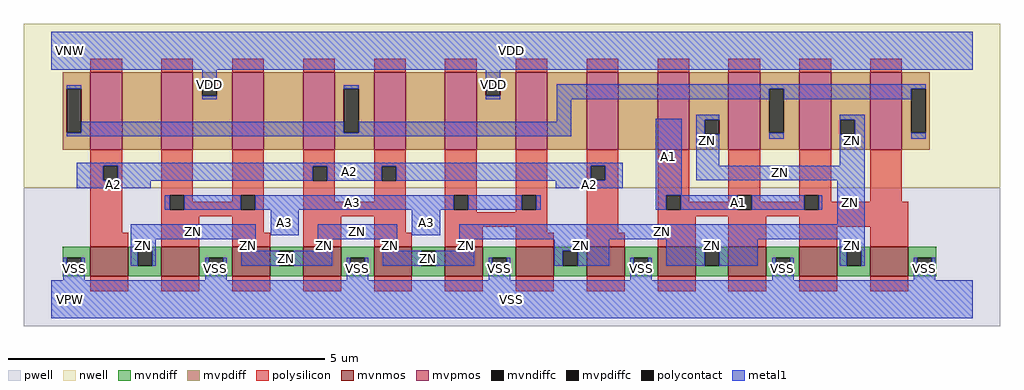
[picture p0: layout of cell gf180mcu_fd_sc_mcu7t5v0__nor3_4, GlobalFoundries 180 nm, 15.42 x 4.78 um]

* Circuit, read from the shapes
.subckt gf180mcu_fd_sc_mcu7t5v0__nor3_4 A1 A2 A3 ZN VDD VNW VPW VSS
XM1 ZN A2 VSS VPW nfet_06v0 w=0.465u l=0.6u m=4
XM2 VSS A3 ZN VPW nfet_06v0 w=0.465u l=0.6u m=4
XM3 ZN A1 VSS VPW nfet_06v0 w=0.465u l=0.6u m=4
XM4 n1 A2 n2 VNW pfet_06v0 w=1.22u l=0.5u
XM5 VDD A3 n1 VNW pfet_06v0 w=1.22u l=0.5u
XM6 n3 A3 VDD VNW pfet_06v0 w=1.22u l=0.5u
XM7 n2 A2 n3 VNW pfet_06v0 w=1.22u l=0.5u
XM8 n4 A2 n2 VNW pfet_06v0 w=1.22u l=0.5u
XM9 VDD A3 n4 VNW pfet_06v0 w=1.22u l=0.5u
XM10 n5 A3 VDD VNW pfet_06v0 w=1.22u l=0.5u
XM11 n6 A2 n5 VNW pfet_06v0 w=1.22u l=0.5u
XM12 ZN A1 n6 VNW pfet_06v0 w=1.22u l=0.5u
XM13 n2 A1 ZN VNW pfet_06v0 w=1.22u l=0.5u m=3
.ends

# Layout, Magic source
magic
tech gf180mcuD
magscale 1 10
<< nwell >>
rect -86 352 2998 870
<< pwell >>
rect -86 -86 2998 352
<< mvnmos >>
rect 124 72 244 165
rect 348 72 468 165
rect 572 72 692 165
rect 796 72 916 165
rect 1020 72 1140 165
rect 1244 72 1364 165
rect 1468 72 1588 165
rect 1692 72 1812 165
rect 1916 72 2036 165
rect 2140 72 2260 165
rect 2364 72 2484 165
rect 2588 72 2708 165
<< mvpmos >>
rect 124 472 224 716
rect 348 472 448 716
rect 572 472 672 716
rect 796 472 896 716
rect 1020 472 1120 716
rect 1244 472 1344 716
rect 1468 472 1568 716
rect 1692 472 1792 716
rect 1916 472 2016 716
rect 2140 472 2240 716
rect 2364 472 2464 716
rect 2588 472 2688 716
<< mvndiff >>
rect 36 131 124 165
rect 36 85 49 131
rect 95 85 124 131
rect 36 72 124 85
rect 244 152 348 165
rect 244 106 273 152
rect 319 106 348 152
rect 244 72 348 106
rect 468 131 572 165
rect 468 85 497 131
rect 543 85 572 131
rect 468 72 572 85
rect 692 152 796 165
rect 692 106 721 152
rect 767 106 796 152
rect 692 72 796 106
rect 916 131 1020 165
rect 916 85 945 131
rect 991 85 1020 131
rect 916 72 1020 85
rect 1140 152 1244 165
rect 1140 106 1169 152
rect 1215 106 1244 152
rect 1140 72 1244 106
rect 1364 131 1468 165
rect 1364 85 1393 131
rect 1439 85 1468 131
rect 1364 72 1468 85
rect 1588 152 1692 165
rect 1588 106 1617 152
rect 1663 106 1692 152
rect 1588 72 1692 106
rect 1812 131 1916 165
rect 1812 85 1841 131
rect 1887 85 1916 131
rect 1812 72 1916 85
rect 2036 152 2140 165
rect 2036 106 2065 152
rect 2111 106 2140 152
rect 2036 72 2140 106
rect 2260 131 2364 165
rect 2260 85 2289 131
rect 2335 85 2364 131
rect 2260 72 2364 85
rect 2484 152 2588 165
rect 2484 106 2513 152
rect 2559 106 2588 152
rect 2484 72 2588 106
rect 2708 131 2796 165
rect 2708 85 2737 131
rect 2783 85 2796 131
rect 2708 72 2796 85
<< mvpdiff >>
rect 36 665 124 716
rect 36 525 49 665
rect 95 525 124 665
rect 36 472 124 525
rect 224 472 348 716
rect 448 688 572 716
rect 448 642 477 688
rect 523 642 572 688
rect 448 472 572 642
rect 672 472 796 716
rect 896 665 1020 716
rect 896 525 925 665
rect 971 525 1020 665
rect 896 472 1020 525
rect 1120 472 1244 716
rect 1344 688 1468 716
rect 1344 642 1373 688
rect 1419 642 1468 688
rect 1344 472 1468 642
rect 1568 472 1692 716
rect 1792 472 1916 716
rect 2016 567 2140 716
rect 2016 521 2065 567
rect 2111 521 2140 567
rect 2016 472 2140 521
rect 2240 665 2364 716
rect 2240 525 2269 665
rect 2315 525 2364 665
rect 2240 472 2364 525
rect 2464 567 2588 716
rect 2464 521 2493 567
rect 2539 521 2588 567
rect 2464 472 2588 521
rect 2688 665 2776 716
rect 2688 525 2717 665
rect 2763 525 2776 665
rect 2688 472 2776 525
<< mvndiffc >>
rect 49 85 95 131
rect 273 106 319 152
rect 497 85 543 131
rect 721 106 767 152
rect 945 85 991 131
rect 1169 106 1215 152
rect 1393 85 1439 131
rect 1617 106 1663 152
rect 1841 85 1887 131
rect 2065 106 2111 152
rect 2289 85 2335 131
rect 2513 106 2559 152
rect 2737 85 2783 131
<< mvpdiffc >>
rect 49 525 95 665
rect 477 642 523 688
rect 925 525 971 665
rect 1373 642 1419 688
rect 2065 521 2111 567
rect 2269 525 2315 665
rect 2493 521 2539 567
rect 2717 525 2763 665
<< polysilicon >>
rect 124 716 224 760
rect 348 716 448 760
rect 572 716 672 760
rect 796 716 896 760
rect 1020 716 1120 760
rect 1244 716 1344 760
rect 1468 716 1568 760
rect 1692 716 1792 760
rect 1916 716 2016 760
rect 2140 716 2240 760
rect 2364 716 2464 760
rect 2588 716 2688 760
rect 124 421 224 472
rect 124 375 165 421
rect 211 375 224 421
rect 124 209 224 375
rect 348 328 448 472
rect 348 282 375 328
rect 421 307 448 328
rect 572 328 672 472
rect 572 307 599 328
rect 421 282 599 307
rect 645 282 672 328
rect 348 261 672 282
rect 124 165 244 209
rect 348 165 468 261
rect 572 209 672 261
rect 796 420 896 472
rect 796 374 827 420
rect 873 374 896 420
rect 796 307 896 374
rect 1020 420 1120 472
rect 1020 374 1045 420
rect 1091 374 1120 420
rect 1020 307 1120 374
rect 796 261 1120 307
rect 572 165 692 209
rect 796 165 916 261
rect 1020 209 1120 261
rect 1244 328 1344 472
rect 1244 282 1272 328
rect 1318 282 1344 328
rect 1244 274 1344 282
rect 1468 328 1568 472
rect 1468 282 1487 328
rect 1533 282 1568 328
rect 1468 274 1568 282
rect 1244 228 1568 274
rect 1020 165 1140 209
rect 1244 165 1364 228
rect 1468 209 1568 228
rect 1692 421 1792 472
rect 1692 375 1705 421
rect 1751 375 1792 421
rect 1692 209 1792 375
rect 1916 328 2016 472
rect 1916 282 1944 328
rect 1990 307 2016 328
rect 2140 328 2240 472
rect 2140 307 2168 328
rect 1990 282 2168 307
rect 2214 307 2240 328
rect 2364 328 2464 472
rect 2364 307 2379 328
rect 2214 282 2379 307
rect 2425 307 2464 328
rect 2588 307 2688 472
rect 2425 282 2708 307
rect 1916 261 2708 282
rect 1468 165 1588 209
rect 1692 165 1812 209
rect 1916 165 2036 261
rect 2140 165 2260 261
rect 2364 228 2708 261
rect 2364 165 2484 228
rect 2588 165 2708 228
rect 124 24 244 72
rect 348 24 468 72
rect 572 24 692 72
rect 796 24 916 72
rect 1020 24 1140 72
rect 1244 24 1364 72
rect 1468 24 1588 72
rect 1692 24 1812 72
rect 1916 24 2036 72
rect 2140 24 2260 72
rect 2364 24 2484 72
rect 2588 24 2708 72
<< polycontact >>
rect 165 375 211 421
rect 375 282 421 328
rect 599 282 645 328
rect 827 374 873 420
rect 1045 374 1091 420
rect 1272 282 1318 328
rect 1487 282 1533 328
rect 1705 375 1751 421
rect 1944 282 1990 328
rect 2168 282 2214 328
rect 2379 282 2425 328
<< metal1 >>
rect 0 724 2912 844
rect 477 688 523 724
rect 49 665 95 676
rect 1373 688 1419 724
rect 477 631 523 642
rect 925 665 971 676
rect 95 525 925 560
rect 1373 631 1419 642
rect 1598 665 2763 678
rect 1598 632 2269 665
rect 1598 560 1644 632
rect 971 525 1644 560
rect 49 514 1644 525
rect 81 421 1806 430
rect 81 375 165 421
rect 211 420 1705 421
rect 211 375 827 420
rect 81 374 827 375
rect 873 374 1045 420
rect 1091 375 1705 420
rect 1751 375 1806 421
rect 1091 374 1806 375
rect 81 350 314 374
rect 1594 350 1806 374
rect 1910 328 1992 570
rect 2038 567 2111 582
rect 2038 521 2065 567
rect 2038 422 2111 521
rect 2315 632 2717 665
rect 2269 506 2315 525
rect 2492 567 2570 582
rect 2492 521 2493 567
rect 2539 521 2570 567
rect 2492 422 2570 521
rect 2717 506 2763 525
rect 2038 375 2570 422
rect 358 282 375 328
rect 421 282 599 328
rect 645 282 1272 328
rect 1318 282 1487 328
rect 1533 282 1547 328
rect 1910 282 1944 328
rect 1990 282 2168 328
rect 2214 282 2379 328
rect 2425 282 2436 328
rect 251 189 646 236
rect 694 202 782 282
rect 251 152 330 189
rect 38 85 49 131
rect 95 85 106 131
rect 251 106 273 152
rect 319 106 330 152
rect 600 152 646 189
rect 842 189 1094 236
rect 1140 202 1230 282
rect 2484 236 2570 375
rect 842 152 888 189
rect 38 60 106 85
rect 486 85 497 131
rect 543 85 554 131
rect 600 106 721 152
rect 767 106 888 152
rect 1048 152 1094 189
rect 1290 189 2570 236
rect 1290 152 1336 189
rect 486 60 554 85
rect 934 85 945 131
rect 991 85 1002 131
rect 1048 106 1169 152
rect 1215 106 1336 152
rect 1590 152 1764 189
rect 934 60 1002 85
rect 1382 85 1393 131
rect 1439 85 1450 131
rect 1590 106 1617 152
rect 1663 106 1764 152
rect 1944 152 2232 189
rect 1382 60 1450 85
rect 1830 85 1841 131
rect 1887 85 1898 131
rect 1944 106 2065 152
rect 2111 106 2232 152
rect 2492 152 2570 189
rect 1830 60 1898 85
rect 2278 85 2289 131
rect 2335 85 2346 131
rect 2492 106 2513 152
rect 2559 106 2570 152
rect 2278 60 2346 85
rect 2726 85 2737 131
rect 2783 85 2794 131
rect 2726 60 2794 85
rect 0 -60 2912 60
<< labels >>
flabel metal1 s 358 282 1547 328 0 FreeSans 400 0 0 0 A3
port 3 nsew default input
flabel metal1 s 0 724 2912 844 0 FreeSans 400 0 0 0 VDD
port 5 nsew power bidirectional abutment
flabel metal1 s 2726 60 2794 131 0 FreeSans 400 0 0 0 VSS
port 8 nsew ground bidirectional abutment
flabel metal1 s 2492 422 2570 582 0 FreeSans 400 0 0 0 ZN
port 4 nsew default output
flabel metal1 s 1910 328 1992 570 0 FreeSans 400 0 0 0 A1
port 1 nsew default input
flabel metal1 s 81 374 1806 430 0 FreeSans 400 0 0 0 A2
port 2 nsew default input
flabel nwell s 10 734 110 834 0 FreeSans 400 0 0 0 VNW
port 6 nsew power bidirectional
flabel pwell s 10 -50 110 50 0 FreeSans 400 0 0 0 VPW
port 7 nsew ground bidirectional
rlabel metal1 s 1910 282 2436 328 1 A1
port 1 nsew default input
rlabel metal1 s 1594 350 1806 374 1 A2
port 2 nsew default input
rlabel metal1 s 81 350 314 374 1 A2
port 2 nsew default input
rlabel metal1 s 1140 202 1230 282 1 A3
port 3 nsew default input
rlabel metal1 s 694 202 782 282 1 A3
port 3 nsew default input
rlabel metal1 s 2038 422 2111 582 1 ZN
port 4 nsew default output
rlabel metal1 s 2038 375 2570 422 1 ZN
port 4 nsew default output
rlabel metal1 s 2484 236 2570 375 1 ZN
port 4 nsew default output
rlabel metal1 s 1290 189 2570 236 1 ZN
port 4 nsew default output
rlabel metal1 s 842 189 1094 236 1 ZN
port 4 nsew default output
rlabel metal1 s 251 189 646 236 1 ZN
port 4 nsew default output
rlabel metal1 s 2492 152 2570 189 1 ZN
port 4 nsew default output
rlabel metal1 s 1944 152 2232 189 1 ZN
port 4 nsew default output
rlabel metal1 s 1590 152 1764 189 1 ZN
port 4 nsew default output
rlabel metal1 s 1290 152 1336 189 1 ZN
port 4 nsew default output
rlabel metal1 s 1048 152 1094 189 1 ZN
port 4 nsew default output
rlabel metal1 s 842 152 888 189 1 ZN
port 4 nsew default output
rlabel metal1 s 600 152 646 189 1 ZN
port 4 nsew default output
rlabel metal1 s 251 152 330 189 1 ZN
port 4 nsew default output
rlabel metal1 s 2492 106 2570 152 1 ZN
port 4 nsew default output
rlabel metal1 s 1944 106 2232 152 1 ZN
port 4 nsew default output
rlabel metal1 s 1590 106 1764 152 1 ZN
port 4 nsew default output
rlabel metal1 s 1048 106 1336 152 1 ZN
port 4 nsew default output
rlabel metal1 s 600 106 888 152 1 ZN
port 4 nsew default output
rlabel metal1 s 251 106 330 152 1 ZN
port 4 nsew default output
rlabel metal1 s 1373 631 1419 724 1 VDD
port 5 nsew power bidirectional abutment
rlabel metal1 s 477 631 523 724 1 VDD
port 5 nsew power bidirectional abutment
rlabel metal1 s 2278 60 2346 131 1 VSS
port 8 nsew ground bidirectional abutment
rlabel metal1 s 1830 60 1898 131 1 VSS
port 8 nsew ground bidirectional abutment
rlabel metal1 s 1382 60 1450 131 1 VSS
port 8 nsew ground bidirectional abutment
rlabel metal1 s 934 60 1002 131 1 VSS
port 8 nsew ground bidirectional abutment
rlabel metal1 s 486 60 554 131 1 VSS
port 8 nsew ground bidirectional abutment
rlabel metal1 s 38 60 106 131 1 VSS
port 8 nsew ground bidirectional abutment
rlabel metal1 s 0 -60 2912 60 1 VSS
port 8 nsew ground bidirectional abutment
<< properties >>
string FIXED_BBOX 0 0 2912 784
string GDS_END 760752
string GDS_FILE $PDKPATH/libs.ref/gf180mcu_fd_sc_mcu7t5v0/gds/gf180mcu_fd_sc_mcu7t5v0.gds
string GDS_START 754912
string LEFclass core
string LEFsite GF018hv5v_mcu_sc7
string LEFsymmetry X Y
<< end >>
